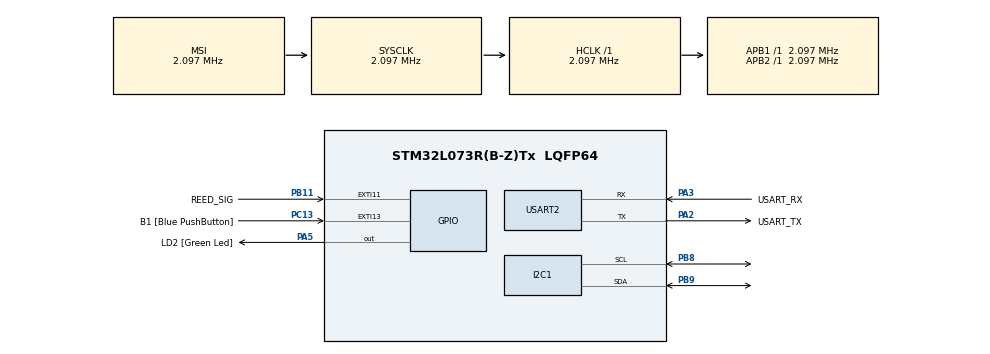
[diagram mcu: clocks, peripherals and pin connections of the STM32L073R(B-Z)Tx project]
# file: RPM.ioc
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I2C1.Timing=0x00000608
Mcu.Family=STM32L0
Mcu.Name=STM32L073R(B-Z)Tx
Mcu.Package=LQFP64
NVIC.EXTI4_15_IRQn=true\:0\:0\:false\:false\:true\:true\:true\:true
PA13.GPIO_Label=TMS
PA13.Mode=Serial_Wire
PA13.Signal=SYS_SWDIO
PA14.GPIO_Label=TCK
PA14.Mode=Serial_Wire
PA14.Signal=SYS_SWCLK
PA2.GPIO_Label=USART_TX
PA2.Mode=Asynchronous
PA2.Signal=USART2_TX
PA3.GPIO_Label=USART_RX
PA3.Mode=Asynchronous
PA3.Signal=USART2_RX
PA5.GPIO_Label=LD2 [Green Led]
PA5.Signal=GPIO_Output
PB11.GPIO_Label=REED_SIG
PB11.GPIO_ModeDefaultEXTI=GPIO_MODE_IT_FALLING
PB11.Signal=GPXTI11
PB8.Mode=I2C
PB8.Signal=I2C1_SCL
PB9.Mode=I2C
PB9.Signal=I2C1_SDA
PC13.GPIO_Label=B1 [Blue PushButton]
PC13.GPIO_ModeDefaultEXTI=GPIO_MODE_IT_FALLING
PC13.Signal=GPXTI13
PC14-OSC32_IN.Mode=LSE-External-Oscillator
PC14-OSC32_IN.Signal=RCC_OSC32_IN
PC15-OSC32_OUT.Mode=LSE-External-Oscillator
PC15-OSC32_OUT.Signal=RCC_OSC32_OUT
PH0-OSC_IN.GPIO_Label=MCO
PH0-OSC_IN.Mode=HSE-External-Clock-Source
PH0-OSC_IN.Signal=RCC_OSC_IN
ProjectManager.HeapSize=0x200
ProjectManager.StackSize=0x800
ProjectManager.TargetToolchain=STM32CubeIDE
RCC.AHBFreq_Value=2097000
RCC.APB1Freq_Value=2097000
RCC.APB1TimFreq_Value=2097000
RCC.APB2Freq_Value=2097000
RCC.APB2TimFreq_Value=2097000
RCC.HSE_VALUE=8000000
RCC.HSI16_VALUE=16000000
RCC.HSI48_VALUE=48000000
RCC.HSI_VALUE=16000000
RCC.MSI_VALUE=2097000
RCC.SYSCLKFreq_VALUE=2097000
RCC.VCOOutputFreq_Value=48000000
USART2.VirtualMode-Asynchronous=VM_ASYNC
board=NUCLEO-L073RZ

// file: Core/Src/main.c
/* USER CODE BEGIN Header */
/**
  ******************************************************************************
  * @file           : main.c
  * @brief          : Main program body
  ******************************************************************************
  * @attention
  *
  * Copyright (c) 2026 STMicroelectronics.
  * All rights reserved.
  *
  * This software is licensed under terms that can be found in the LICENSE file
  * in the root directory of this software component.
  * If no LICENSE file comes with this software, it is provided AS-IS.
  *
  ******************************************************************************
  */
/* USER CODE END Header */
#include "main.h"

/* USER CODE BEGIN Includes */

#include <stdio.h>
#include <string.h>
#include "ssd1306.h"
#include "ssd1306_fonts.h"

/* USER CODE END Includes */

I2C_HandleTypeDef hi2c1;

UART_HandleTypeDef huart2;

void SystemClock_Config(void);
static void MX_GPIO_Init(void);
static void MX_USART2_UART_Init(void);
static void MX_I2C1_Init(void);

/* USER CODE BEGIN 0 */

#define DEBOUNCE_MS 50
#define ZERO_TIMEOUT_MS 65000
#define MIN_VALID_PERIOD_MS 1000
#define UART_PERIOD_MS 200
#define OLED_PERIOD_MS 500

volatile uint32_t last_pulse_ms = 0;
volatile uint32_t last_irq_ms = 0;
volatile uint32_t pulse_count = 0;
volatile uint32_t last_dt_ms = 0;
volatile float rpm = 0.0f;

/* USER CODE END 0 */

int main(void)
{

  /* MCU Configuration--------------------------------------------------------*/

  /* Reset of all peripherals, Initializes the Flash interface and the Systick. */
  HAL_Init();

  /* Configure the system clock */
  SystemClock_Config();

  /* Initialize all configured peripherals */
  MX_GPIO_Init();
  MX_USART2_UART_Init();
  MX_I2C1_Init();
  /* USER CODE BEGIN 2 */
  ssd1306_Init();
  ssd1306_Fill(Black);
  ssd1306_SetCursor(0, 0);
  ssd1306_WriteString("OLED OK", Font_7x10, White);
  ssd1306_UpdateScreen();

  uint32_t last_oled_ms = 0;
  uint32_t last_uart_ms = 0;
  char msg[128];

  /* USER CODE END 2 */

  /* Infinite loop */
  /* USER CODE BEGIN WHILE */
  while (1)
  {
	  uint32_t now = HAL_GetTick();

	  float current_rpm = rpm;

	  if (last_pulse_ms == 0 || (now - last_pulse_ms > ZERO_TIMEOUT_MS))
	  {
		  current_rpm = 0.0f;
	  }

	  if (now - last_uart_ms >= UART_PERIOD_MS)
	  {
	      last_uart_ms = now;

	      GPIO_PinState state = HAL_GPIO_ReadPin(REED_SIG_GPIO_Port, REED_SIG_Pin);

	      snprintf(msg, sizeof(msg), "REED=%d PULSES=%lu DT=%lu ms RPM=%.2f\r\n", state, pulse_count, last_dt_ms, current_rpm);
	      HAL_UART_Transmit(&huart2, (uint8_t*)msg, strlen(msg), HAL_MAX_DELAY);
	  }

	  if (now - last_oled_ms >= OLED_PERIOD_MS)
	  {
	      last_oled_ms = now;

	      ssd1306_Fill(Black);

	      ssd1306_SetCursor(0, 0);
	      ssd1306_WriteString("Aps/min:", Font_11x18, White);

	      snprintf(msg, sizeof(msg), "%.2f", current_rpm);
	      ssd1306_SetCursor(0, 25);
	      ssd1306_WriteString(msg, Font_16x26, White);

	      ssd1306_UpdateScreen();
	  }

    /* USER CODE END WHILE */

  }
}

void SystemClock_Config(void)
{
  RCC_OscInitTypeDef RCC_OscInitStruct = {0};
  RCC_ClkInitTypeDef RCC_ClkInitStruct = {0};
  RCC_PeriphCLKInitTypeDef PeriphClkInit = {0};

  /** Configure the main internal regulator output voltage
  */
  __HAL_PWR_VOLTAGESCALING_CONFIG(PWR_REGULATOR_VOLTAGE_SCALE1);

  /** Initializes the RCC Oscillators according to the specified parameters
  * in the RCC_OscInitTypeDef structure.
  */
  RCC_OscInitStruct.OscillatorType = RCC_OSCILLATORTYPE_MSI;
  RCC_OscInitStruct.MSIState = RCC_MSI_ON;
  RCC_OscInitStruct.MSICalibrationValue = 0;
  RCC_OscInitStruct.MSIClockRange = RCC_MSIRANGE_5;
  RCC_OscInitStruct.PLL.PLLState = RCC_PLL_NONE;
  if (HAL_RCC_OscConfig(&RCC_OscInitStruct) != HAL_OK)
  {
    Error_Handler();
  }

  /** Initializes the CPU, AHB and APB buses clocks
  */
  RCC_ClkInitStruct.ClockType = RCC_CLOCKTYPE_HCLK|RCC_CLOCKTYPE_SYSCLK
                              |RCC_CLOCKTYPE_PCLK1|RCC_CLOCKTYPE_PCLK2;
  RCC_ClkInitStruct.SYSCLKSource = RCC_SYSCLKSOURCE_MSI;
  RCC_ClkInitStruct.AHBCLKDivider = RCC_SYSCLK_DIV1;
  RCC_ClkInitStruct.APB1CLKDivider = RCC_HCLK_DIV1;
  RCC_ClkInitStruct.APB2CLKDivider = RCC_HCLK_DIV1;

  if (HAL_RCC_ClockConfig(&RCC_ClkInitStruct, FLASH_LATENCY_0) != HAL_OK)
  {
    Error_Handler();
  }
  PeriphClkInit.PeriphClockSelection = RCC_PERIPHCLK_USART2|RCC_PERIPHCLK_I2C1;
  PeriphClkInit.Usart2ClockSelection = RCC_USART2CLKSOURCE_PCLK1;
  PeriphClkInit.I2c1ClockSelection = RCC_I2C1CLKSOURCE_PCLK1;
  if (HAL_RCCEx_PeriphCLKConfig(&PeriphClkInit) != HAL_OK)
  {
    Error_Handler();
  }
}

static void MX_I2C1_Init(void)
{

  hi2c1.Instance = I2C1;
  hi2c1.Init.Timing = 0x00000608;
  hi2c1.Init.OwnAddress1 = 0;
  hi2c1.Init.AddressingMode = I2C_ADDRESSINGMODE_7BIT;
  hi2c1.Init.DualAddressMode = I2C_DUALADDRESS_DISABLE;
  hi2c1.Init.OwnAddress2 = 0;
  hi2c1.Init.OwnAddress2Masks = I2C_OA2_NOMASK;
  hi2c1.Init.GeneralCallMode = I2C_GENERALCALL_DISABLE;
  hi2c1.Init.NoStretchMode = I2C_NOSTRETCH_DISABLE;
  if (HAL_I2C_Init(&hi2c1) != HAL_OK)
  {
    Error_Handler();
  }

  /** Configure Analogue filter
  */
  if (HAL_I2CEx_ConfigAnalogFilter(&hi2c1, I2C_ANALOGFILTER_ENABLE) != HAL_OK)
  {
    Error_Handler();
  }

  /** Configure Digital filter
  */
  if (HAL_I2CEx_ConfigDigitalFilter(&hi2c1, 0) != HAL_OK)
  {
    Error_Handler();
  }

}

static void MX_USART2_UART_Init(void)
{

  huart2.Instance = USART2;
  huart2.Init.BaudRate = 115200;
  huart2.Init.WordLength = UART_WORDLENGTH_8B;
  huart2.Init.StopBits = UART_STOPBITS_1;
  huart2.Init.Parity = UART_PARITY_NONE;
  huart2.Init.Mode = UART_MODE_TX_RX;
  huart2.Init.HwFlowCtl = UART_HWCONTROL_NONE;
  huart2.Init.OverSampling = UART_OVERSAMPLING_16;
  huart2.Init.OneBitSampling = UART_ONE_BIT_SAMPLE_DISABLE;
  huart2.AdvancedInit.AdvFeatureInit = UART_ADVFEATURE_NO_INIT;
  if (HAL_UART_Init(&huart2) != HAL_OK)
  {
    Error_Handler();
  }

}

static void MX_GPIO_Init(void)
{
  GPIO_InitTypeDef GPIO_InitStruct = {0};

  /* GPIO Ports Clock Enable */
  __HAL_RCC_GPIOC_CLK_ENABLE();
  __HAL_RCC_GPIOH_CLK_ENABLE();
  __HAL_RCC_GPIOA_CLK_ENABLE();
  __HAL_RCC_GPIOB_CLK_ENABLE();

  /*Configure GPIO pin Output Level */
  HAL_GPIO_WritePin(LD2_GPIO_Port, LD2_Pin, GPIO_PIN_RESET);

  /*Configure GPIO pin : B1_Pin */
  GPIO_InitStruct.Pin = B1_Pin;
  GPIO_InitStruct.Mode = GPIO_MODE_IT_FALLING;
  GPIO_InitStruct.Pull = GPIO_NOPULL;
  HAL_GPIO_Init(B1_GPIO_Port, &GPIO_InitStruct);

  /*Configure GPIO pin : LD2_Pin */
  GPIO_InitStruct.Pin = LD2_Pin;
  GPIO_InitStruct.Mode = GPIO_MODE_OUTPUT_PP;
  GPIO_InitStruct.Pull = GPIO_NOPULL;
  GPIO_InitStruct.Speed = GPIO_SPEED_FREQ_LOW;
  HAL_GPIO_Init(LD2_GPIO_Port, &GPIO_InitStruct);

  /*Configure GPIO pin : REED_SIG_Pin */
  GPIO_InitStruct.Pin = REED_SIG_Pin;
  GPIO_InitStruct.Mode = GPIO_MODE_IT_FALLING;
  GPIO_InitStruct.Pull = GPIO_NOPULL;
  HAL_GPIO_Init(REED_SIG_GPIO_Port, &GPIO_InitStruct);

  /* EXTI interrupt init*/
  HAL_NVIC_SetPriority(EXTI4_15_IRQn, 0, 0);
  HAL_NVIC_EnableIRQ(EXTI4_15_IRQn);

}

/* USER CODE BEGIN 4 */
void HAL_GPIO_EXTI_Callback(uint16_t GPIO_Pin)
{
	if (GPIO_Pin == REED_SIG_Pin)
	{
		uint32_t now = HAL_GetTick();

	    // Kontaktų drebėjimo mažinimas
	    if (now - last_irq_ms < DEBOUNCE_MS)
	    {
	    	return;
	    }

	    last_irq_ms = now;

	    // Pirmas impulsas
	    if (last_pulse_ms == 0 || (now - last_pulse_ms > ZERO_TIMEOUT_MS))
	    {
	        last_pulse_ms = now;
	        last_dt_ms = 0;
	        rpm = 0.0f;
	        pulse_count++;
	        return;
	    }

	    uint32_t diff = now - last_pulse_ms;

	    // Atmetami per dažni impulsai, neatitinkantys 0–60 aps/min diapazono
	    if (diff < MIN_VALID_PERIOD_MS)
	    {
	    	return;
	    }

	    last_pulse_ms = now;
	    last_dt_ms = diff;
	    pulse_count++;

	    rpm = 60000.0f / (float)diff;

	    // Papildoma apsauga, kad reikšmė neviršytų užduoties diapazono
	    if (rpm > 60.0f)
	    {
	    	rpm = 60.0f;
	    }
	}
}

/* USER CODE END 4 */

void Error_Handler(void)
{
  __disable_irq();
  while (1)
  {
  }
}
